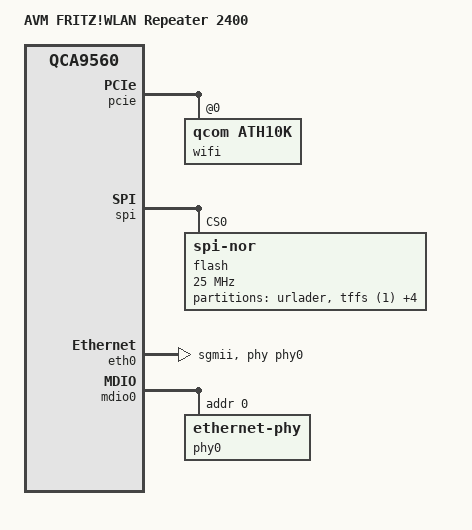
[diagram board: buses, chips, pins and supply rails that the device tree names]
// SPDX-License-Identifier: GPL-2.0-or-later OR MIT

#include "qca956x.dtsi"

#include <dt-bindings/gpio/gpio.h>
#include <dt-bindings/input/input.h>

/ {
	model = "AVM FRITZ!WLAN Repeater 2400";
	compatible = "avm,fritz2400", "qca,qcn5500", "qca,qca9560";
};

&pcie {
	status = "okay";

	wifi@0,0 {
		compatible = "qcom,ath10k";
		reg = <0 0 0 0 0>;
	};
};

&spi {
	status = "okay";

	flash@0 {
		compatible = "jedec,spi-nor";
		reg = <0>;
		spi-max-frequency = <25000000>;

		partitions {
			compatible = "fixed-partitions";
			#address-cells = <1>;
			#size-cells = <1>;

			partition@0 {
				label = "urlader";
				reg = <0x00000 0x20000>;
				read-only;
			};

			partition@20000 {
				label = "tffs (1)";
				reg = <0x20000 0x70000>;
				read-only;
			};

			partition@90000 {
				label = "reserved-kernel";
				reg = <0x90000 0x1f70000>;
				read-only;
			};

			partition@2020000 {
				label = "tffs (2)";
				reg = <0x2020000 0x70000>;
				read-only;
			};

			partition@2090000 {
				compatible = "avm,eva-firmware";
				label = "kernel";
				reg = <0x2090000 0x242e00>;
			};

			partition@22d2e00 {
				label = "rootfs";
				reg = <0x22d2e00 0x1d2d200>;
			};
		};
	};
};


&wmac {
	/* Does not work due to lack of QCN5502 support in ath9k. */
	status = "disabled";
};

&eth0 {
	status = "okay";

	pll-data = <0x03000101 0x00000101 0x00001919>;

	phy-mode = "sgmii";
	phy-handle = <&phy0>;
};

&mdio0 {
	status = "okay";

	phy0: ethernet-phy@0 {
		reg = <0>;
		phy-mode = "sgmii";
		qca,mib-poll-interval = <500>;

		qca,ar8327-initvals = <
			0x04 0x80080080 /* PORT0 PAD MODE CTRL */
			0x08 0x00000000 /* PORT5 PAD MODE CTRL */
			0x0c 0x00000000 /* PORT6 PAD MODE CTRL */
			0x10 0x00000080 /* POWER_ON_STRAP */
			0x7c 0x0000007e /* PORT0_STATUS */
			0x94 0x00000200 /* PORT6_STATUS */
			>;
	};
};
